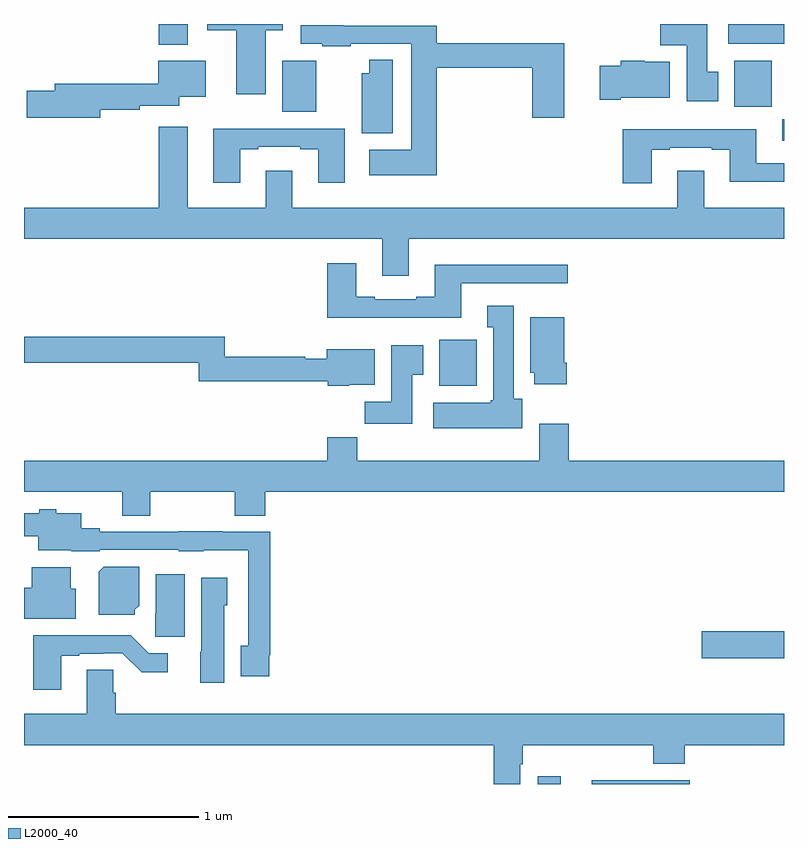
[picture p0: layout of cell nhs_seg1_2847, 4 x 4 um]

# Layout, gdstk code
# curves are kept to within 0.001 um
import gdstk
lib = gdstk.Library(unit=1e-6, precision=1e-09)
def R(c, l, rs):  # rectangles x0, y0, x1, y1
    for r in rs: c.add(gdstk.rectangle(r[:2], r[2:], *l))
def P(c, l, *ps):  # polygons
    for p in ps: c.add(gdstk.Polygon(p, *l))
L2000_40 = (2000, 40)

nhs_seg1_2847 = lib.new_cell('nhs_seg1_2847')
R(nhs_seg1_2847, L2000_40, [(267.704,546.199,267.826,546.241), (267.987,546.199,268.505,546.218), (268.566,546.862,269,547.004), (267.185,548.294,267.382,548.536), (268.991,549.585,269,549.698), (266.36,549.737,266.539,550.006), (268.739,549.764,268.936,550.006), (265.709,550.091,265.861,550.199), (268.707,550.094,269,550.199)])
P(nhs_seg1_2847, L2000_40, [(266.272,550.166),(266.362,550.166),(266.362,550.199),(265.965,550.199),(265.965,550.166),(266.117,550.166),(266.117,549.828),(266.272,549.828)],
  [(268.654,549.948),(268.597,549.948),(268.597,550.199),(268.348,550.199),(268.348,550.088),(268.487,550.088),(268.487,549.792),(268.654,549.792)],
  [(267.173,549.97),(267.674,549.97),(267.674,549.705),(267.844,549.705),(267.844,550.099),(267.173,550.099),(267.173,550.191),(266.681,550.191),(266.681,550.193),(266.457,550.193),(266.457,550.095),(266.569,550.095),(266.569,550.083),(266.72,550.083),(266.72,550.095),(267.038,550.095),(267.038,549.538),(266.817,549.538),(266.817,549.404),(267.173,549.404)],
  [(266.941,550.01),(266.816,550.01),(266.816,549.94),(266.777,549.94),(266.777,549.623),(266.941,549.623)],
  [(265.402,549.748),(265.61,549.748),(265.61,549.768),(265.816,549.768),(265.816,549.815),(265.957,549.815),(265.957,550.006),(265.706,550.006),(265.706,549.884),(265.163,549.884),(265.163,549.848),(265.014,549.848),(265.014,549.706),(265.402,549.706)],
  [(268.141,549.812),(268.399,549.812),(268.399,550),(268.266,550),(268.266,550.006),(268.141,550.006),(268.141,549.978),(268.029,549.978),(268.029,549.8),(268.141,549.8)],
  [(267.025,549.068),(269,549.068),(269,549.232),(268.579,549.232),(268.579,549.427),(268.439,549.427),(268.439,549.232),(266.413,549.232),(266.413,549.427),(266.273,549.427),(266.273,549.232),(265.861,549.232),(265.861,549.658),(265.709,549.658),(265.709,549.232),(265,549.232),(265,549.068),(266.885,549.068),(266.885,548.874),(267.025,548.874)],
  [(266.137,549.54),(266.233,549.54),(266.233,549.552),(266.453,549.552),(266.453,549.54),(266.549,549.54),(266.549,549.363),(266.689,549.363),(266.689,549.648),(266.233,549.648),(266.233,549.649),(265.997,549.649),(265.997,549.363),(266.137,549.363)],
  [(268.303,549.537),(268.399,549.537),(268.399,549.549),(268.619,549.549),(268.619,549.537),(268.715,549.537),(268.715,549.368),(269,549.368),(269,549.465),(268.855,549.465),(268.855,549.646),(268.151,549.646),(268.151,549.36),(268.303,549.36)],
  [(267.301,548.835),(267.862,548.835),(267.862,548.932),(267.161,548.932),(267.161,548.764),(267.065,548.764),(267.065,548.751),(266.845,548.751),(266.845,548.764),(266.749,548.764),(266.749,548.941),(266.597,548.941),(266.597,548.654),(267.301,548.654)],
  [(267.622,548.226),(267.577,548.226),(267.577,548.716),(267.437,548.716),(267.437,548.603),(267.47,548.603),(267.47,548.22),(267.457,548.22),(267.457,548.206),(267.153,548.206),(267.153,548.072),(267.622,548.072)],
  [(267.857,548.416),(267.844,548.416),(267.844,548.656),(267.665,548.656),(267.665,548.364),(267.686,548.364),(267.686,548.304),(267.857,548.304)],
  [(266.712,548.3),(266.845,548.3),(266.845,548.488),(266.594,548.488),(266.594,548.436),(266.48,548.436),(266.48,548.447),(266.057,548.447),(266.057,548.552),(265,548.552),(265,548.416),(265.921,548.416),(265.921,548.319),(266.598,548.319),(266.598,548.294),(266.712,548.294)],
  [(267.043,548.353),(267.1,548.353),(267.1,548.509),(266.933,548.509),(266.933,548.212),(266.794,548.212),(266.794,548.094),(267.043,548.094)],
  [(265.665,547.736),(266.11,547.736),(266.11,547.612),(266.27,547.612),(266.27,547.736),(269,547.736),(269,547.9),(267.866,547.9),(267.866,548.095),(267.713,548.095),(267.713,547.9),(266.753,547.9),(266.753,548.024),(266.597,548.024),(266.597,547.9),(265,547.9),(265,547.736),(265.517,547.736),(265.517,547.612),(265.665,547.612)],
  [(266.29,546.877),(266.297,546.877),(266.297,547.527),(266.047,547.527),(266.047,547.529),(265.815,547.529),(265.815,547.527),(265.398,547.527),(265.398,547.546),(265.3,547.546),(265.3,547.624),(265.17,547.624),(265.17,547.645),(265.08,547.645),(265.08,547.624),(265,547.624),(265,547.502),(265.076,547.502),(265.076,547.43),(265.248,547.43),(265.248,547.424),(265.398,547.424),(265.398,547.431),(265.815,547.431),(265.815,547.424),(265.947,547.424),(265.947,547.43),(266.181,547.43),(266.181,546.926),(266.141,546.926),(266.141,546.765),(266.29,546.765)],
  [(265.584,547.116),(265.606,547.138),(265.606,547.342),(265.42,547.342),(265.394,547.316),(265.394,547.091),(265.584,547.091)],
  [(265.273,547.227),(265.246,547.227),(265.246,547.34),(265.04,547.34),(265.04,547.231),(265,547.231),(265,547.07),(265.273,547.07)],
  [(265.846,547.303),(265.694,547.303),(265.694,547.098),(265.69,547.098),(265.69,546.975),(265.846,546.975)],
  [(266.053,547.14),(266.071,547.14),(266.071,547.285),(265.934,547.285),(265.934,546.894),(265.928,546.894),(265.928,546.732),(266.053,546.732)],
  [(265.195,546.873),(265.291,546.873),(265.291,546.885),(265.418,546.885),(265.418,546.888),(265.518,546.888),(265.621,546.786),(265.756,546.786),(265.756,546.888),(265.656,546.888),(265.562,546.982),(265.048,546.981),(265.048,546.696),(265.195,546.696)],
  [(267.613,546.303),(267.626,546.303),(267.626,546.404),(268.313,546.404),(268.313,546.305),(268.478,546.305),(268.478,546.404),(269,546.404),(269,546.568),(265.484,546.568),(265.484,546.678),(265.47,546.678),(265.47,546.8),(265.331,546.8),(265.331,546.568),(265,546.568),(265,546.404),(267.473,546.404),(267.473,546.199),(267.613,546.199)])

lib.write_gds('nhs_seg1_2847.gds')
